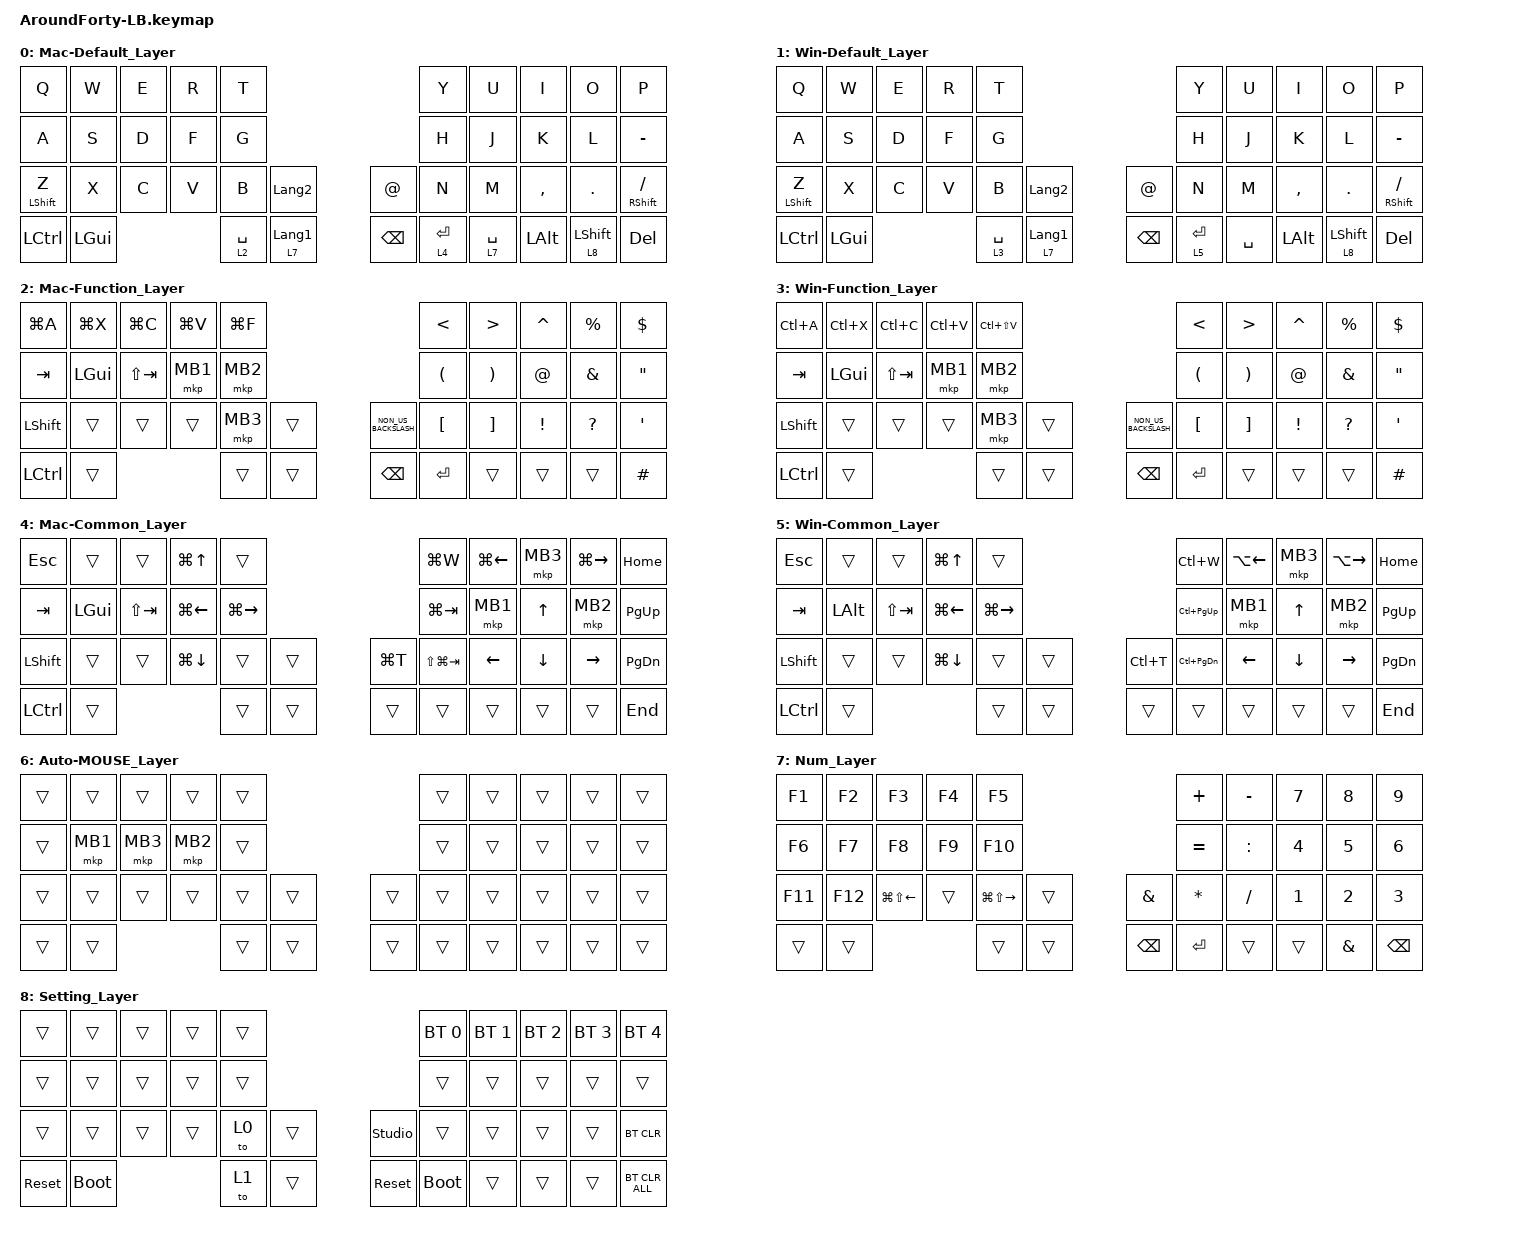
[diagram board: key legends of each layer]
#include <behaviors.dtsi>
#include <dt-bindings/zmk/bt.h>
#include <dt-bindings/zmk/keys.h>
#include <dt-bindings/zmk/pointing.h>

#undef ZMK_POINTING_DEFAULT_SCRL_VAL

#define ZMK_POINTING_DEFAULT_SCRL_VAL 100
#define MOUSE 6

&mt {
    flavor = "balanced";
    quick-tap-ms = <0>;
};

/ {
    //コンボ設定

    combos {
        compatible = "zmk,combos";

        tab {
            bindings = <&kp TAB>;
            key-positions = <11 12>;
        };

        shift_tab {
            bindings = <&kp LS(TAB)>;
            key-positions = <12 13>;
        };

        muhennkann {
            bindings = <&to_layer_0 INT_MUHENKAN>;
            key-positions = <11 10>;
        };

        double_quotation {
            bindings = <&kp DOUBLE_QUOTES>;
            key-positions = <20 21>;
        };

        eq {
            bindings = <&kp EQUAL>;
            key-positions = <24 25>;
        };
    };

    //マクロ(既存のキーの組み合わせ)

    macros {
        to_layer_0: to_layer_0 {
            compatible = "zmk,behavior-macro-one-param";
            #binding-cells = <1>;
            bindings = <&to 0 &macro_param_1to1 &kp MACRO_PLACEHOLDER>;
            label = "TO_LAYER_0";
        };
    };

    //新たな動作を定義する

    behaviors {
        lt_to_layer_0: lt_to_layer_0 {
            compatible = "zmk,behavior-hold-tap";
            label = "LAYER_TAP_TO_0";
            bindings = <&mo>, <&to_layer_0>;

            #binding-cells = <2>;
            tapping-term-ms = <200>;
        };

        pmw3610_inertia_toggle: pmw3610_inertia_toggle {
            compatible = "zmk,behavior-pmw3610-inertia-toggle";
            #binding-cells = <0>;
            label = "PMW3610_INERTIA_TOGGLE";
            display-name = "PMW3610 Inertia Toggle";
        };

        pmw3610_scroll_direction_toggle: pmw3610_scroll_direction_toggle {
            compatible = "zmk,behavior-pmw3610-scroll-direction-toggle";
            #binding-cells = <0>;
            label = "PMW3610_SCROLL_DIRECTION_TOGGLE";
            display-name = "PMW3610 Scroll Direction Toggle";
        };

        pmw3610_horizontal_scroll_direction_toggle: pmw3610_horizontal_scroll_direction_toggle {
            compatible = "zmk,behavior-pmw3610-horizontal-scroll-direction-toggle";
            #binding-cells = <0>;
            label = "PMW3610_HORIZONTAL_SCROLL_DIRECTION_TOGGLE";
            display-name = "PMW3610 Horizontal Scroll Direction Toggle";
        };
    };

    //キーマップ設定

    keymap {
        compatible = "zmk,keymap";

        Mac-Default_Layer {
            bindings = <
&kp Q             &kp W         &kp E  &kp R  &kp T          &kp Y                        &kp U          &kp I        &kp O        &kp P
&kp A             &kp S         &kp D  &kp F  &kp G          &kp H                        &kp J          &kp K        &kp L        &kp MINUS
&mt LEFT_SHIFT Z  &kp X         &kp C  &kp V  &kp B          &kp LANGUAGE_2               &kp AT_SIGN    &kp N        &kp M        &kp COMMA     &kp PERIOD        &mt RIGHT_SHIFT SLASH
&kp LCTRL         &kp LEFT_GUI                &lt 2 SPACE    &lt_to_layer_0 7 LANGUAGE_1  &kp BACKSPACE  &lt 4 ENTER  &lt 7 SPACE  &kp LEFT_ALT  &lt 8 LEFT_SHIFT  &kp DEL
            >;
        };

        Win-Default_Layer {
            bindings = <
&kp Q             &kp W         &kp E  &kp R  &kp T          &kp Y                        &kp U          &kp I        &kp O      &kp P
&kp A             &kp S         &kp D  &kp F  &kp G          &kp H                        &kp J          &kp K        &kp L      &kp MINUS
&mt LEFT_SHIFT Z  &kp X         &kp C  &kp V  &kp B          &kp LANGUAGE_2               &kp AT_SIGN    &kp N        &kp M      &kp COMMA     &kp PERIOD        &mt RIGHT_SHIFT SLASH
&kp LCTRL         &kp LEFT_GUI                &lt 3 SPACE    &lt_to_layer_0 7 LANGUAGE_1  &kp BACKSPACE  &lt 5 ENTER  &kp SPACE  &kp LEFT_ALT  &lt 8 LEFT_SHIFT  &kp DEL
            >;
        };

        Mac-Function_Layer {
            bindings = <
&kp LG(A)       &kp LG(X)     &kp LG(C)    &kp LG(V)  &kp LG(F)    &kp LESS_THAN         &kp GREATER_THAN       &kp CARET         &kp PERCENT        &kp DOLLAR
&kp TAB         &kp LEFT_GUI  &kp LS(TAB)  &mkp MB1   &mkp MB2     &kp LEFT_PARENTHESIS  &kp RIGHT_PARENTHESIS  &kp AT_SIGN       &kp AMPERSAND      &kp DOUBLE_QUOTES
&kp LEFT_SHIFT  &trans        &trans       &trans     &mkp MB3     &trans                &kp NON_US_BACKSLASH   &kp LEFT_BRACKET  &kp RIGHT_BRACKET  &kp EXCLAMATION    &kp QUESTION  &kp SINGLE_QUOTE
&kp LCTRL       &trans                                &trans       &trans                &kp BACKSPACE          &kp ENTER         &trans             &trans             &trans        &kp HASH
            >;
        };

        Win-Function_Layer {
            bindings = <
&kp LC(A)       &kp LC(X)     &kp LC(C)    &kp LC(V)  &kp LC(LS(V))    &kp LESS_THAN         &kp GREATER_THAN       &kp CARET         &kp PERCENT        &kp DOLLAR
&kp TAB         &kp LEFT_GUI  &kp LS(TAB)  &mkp MB1   &mkp MB2         &kp LEFT_PARENTHESIS  &kp RIGHT_PARENTHESIS  &kp AT_SIGN       &kp AMPERSAND      &kp DOUBLE_QUOTES
&kp LEFT_SHIFT  &trans        &trans       &trans     &mkp MB3         &trans                &kp NON_US_BACKSLASH   &kp LEFT_BRACKET  &kp RIGHT_BRACKET  &kp EXCLAMATION    &kp QUESTION  &kp SINGLE_QUOTE
&kp LCTRL       &trans                                &trans           &trans                &kp BACKSPACE          &kp ENTER         &trans             &trans             &trans        &kp HASH
            >;
        };

        Mac-Common_Layer {
            bindings = <
&kp ESCAPE      &trans        &trans       &kp LG(UP_ARROW)    &trans                 &kp LG(W)    &kp LG(LEFT_ARROW)  &mkp MB3         &kp LG(RIGHT_ARROW)  &kp HOME
&kp TAB         &kp LEFT_GUI  &kp LS(TAB)  &kp LG(LEFT_ARROW)  &kp LG(RIGHT_ARROW)    &kp LG(TAB)  &mkp MB1            &kp UP_ARROW     &mkp MB2             &kp PAGE_UP
&kp LEFT_SHIFT  &trans        &trans       &kp LG(DOWN_ARROW)  &trans                 &trans       &kp LG(T)           &kp LS(LG(TAB))  &kp LEFT_ARROW       &kp DOWN_ARROW  &kp RIGHT_ARROW  &kp PAGE_DOWN
&kp LCTRL       &trans                                         &trans                 &trans       &trans              &trans           &trans               &trans          &trans           &kp END
            >;
        };

        Win-Common_Layer {
            bindings = <
&kp ESCAPE      &trans        &trans       &kp LG(UP_ARROW)    &trans                 &kp LC(W)        &kp LA(LEFT_ARROW)  &mkp MB3           &kp LA(RIGHT_ARROW)  &kp HOME
&kp TAB         &kp LEFT_ALT  &kp LS(TAB)  &kp LG(LEFT_ARROW)  &kp LG(RIGHT_ARROW)    &kp LC(PAGE_UP)  &mkp MB1            &kp UP_ARROW       &mkp MB2             &kp PAGE_UP
&kp LEFT_SHIFT  &trans        &trans       &kp LG(DOWN_ARROW)  &trans                 &trans           &kp LC(T)           &kp LC(PAGE_DOWN)  &kp LEFT_ARROW       &kp DOWN_ARROW  &kp RIGHT_ARROW  &kp PAGE_DOWN
&kp LCTRL       &trans                                         &trans                 &trans           &trans              &trans             &trans               &trans          &trans           &kp END
            >;
        };

        Auto-MOUSE_Layer {
            bindings = <
&trans  &trans    &trans    &trans    &trans    &trans  &trans  &trans  &trans  &trans
&trans  &mkp MB1  &mkp MB3  &mkp MB2  &trans    &trans  &trans  &trans  &trans  &trans
&trans  &trans    &trans    &trans    &trans    &trans  &trans  &trans  &trans  &trans  &trans  &trans
&trans  &trans                        &trans    &trans  &trans  &trans  &trans  &trans  &trans  &trans
            >;
        };

        Num_Layer {
            bindings = <
&kp F1   &kp F2   &kp F3                  &kp F4  &kp F5                     &kp PLUS   &kp MINUS      &kp N7        &kp N8     &kp N9
&kp F6   &kp F7   &kp F8                  &kp F9  &kp F10                    &kp EQUAL  &kp COLON      &kp N4        &kp N5     &kp N6
&kp F11  &kp F12  &kp LG(LS(LEFT_ARROW))  &trans  &kp LG(LS(RIGHT_ARROW))    &trans     &kp AMPERSAND  &kp ASTERISK  &kp SLASH  &kp N1  &kp N2         &kp N3
&trans   &trans                                   &trans                     &trans     &kp BACKSPACE  &kp RET       &trans     &trans  &kp AMPERSAND  &kp BSPC
            >;
        };

        Setting_Layer {
            bindings = <
&trans      &trans       &trans  &trans  &trans    &bt BT_SEL 0  &bt BT_SEL 1    &bt BT_SEL 2  &bt BT_SEL 3  &bt BT_SEL 4
&trans      &trans       &trans  &trans  &trans    &trans        &trans          &trans        &trans        &trans
&trans      &trans       &trans  &trans  &to 0     &trans        &studio_unlock  &trans        &trans        &trans        &trans  &bt BT_CLR
&sys_reset  &bootloader                  &to 1     &trans        &sys_reset      &bootloader   &trans        &trans        &trans  &bt BT_CLR_ALL
            >;
        };
    };
};
